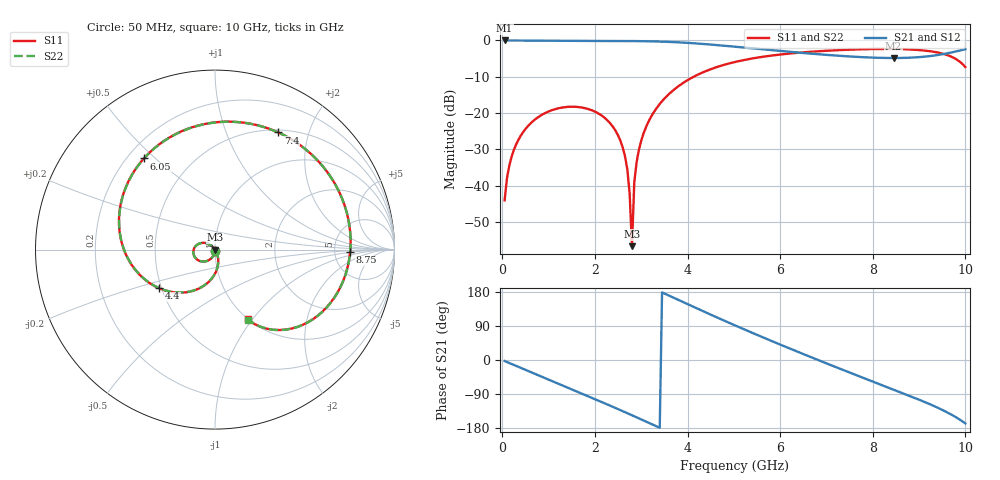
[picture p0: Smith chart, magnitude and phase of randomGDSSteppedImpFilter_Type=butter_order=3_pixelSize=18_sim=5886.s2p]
! freq	dB(S11)	phase(S11)	dB(S12)	phase(S12)
!  dB(S21)	phase(S21)	dB(S22)	phase(S22)
!S-par simulation data
#  GHz  S  DB  R 50
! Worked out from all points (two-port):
!   200 points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, 50 MHz to 10 GHz, reference 50 ohm
!   highest |S21| = -0.01 dB at 50 MHz (marker M1); lowest = -4.8 dB at 8.45 GHz (marker M2)
!   |S21| within 3 dB of the highest: start of sweep to 6.085 GHz; 9.806 GHz to end of sweep
!   lowest |S11| = -56.7 dB at 2.8 GHz (marker M3), VSWR 1.00, Z = 50.1 - j0.123 ohm
!   |S11| at or under -10 dB: start of sweep to 4.134 GHz
!   |S22| runs from -56.6 to -2.3 dB; largest |S21 - S12| = 0
!   S11 on the Smith chart (normalised r, x): 50 MHz: 1.00, -0.01; 4.4 GHz: 0.48, -0.24; 6.05 GHz: 0.26, +0.46; 7.4 GHz: 0.53, +1.54; 8.75 GHz: 7.05, -0.50; 10 GHz: 0.99, -0.95
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0.05  -44.08 -92.1  -0.01 -2.7  -0.01 -2.7  -44.08 -92.1
0.2  -32.09 -100.6  -0.03 -10.5  -0.03 -10.5  -32.09 -100.6
0.5  -24.42 -116.4  -0.05 -26.0  -0.05 -26.0  -24.42 -116.5
1.15  -18.91 -150.2  -0.12 -59.4  -0.12 -59.4  -18.91 -150.2
1.75  -18.57 178.8  -0.16 -90.2  -0.16 -90.2  -18.57 178.8
2.55  -27.63 136.8  -0.16 -132.3  -0.16 -132.3  -27.63 136.9
2.7  -35.53 128.8  -0.17 -140.3  -0.17 -140.3  -35.53 129.2
2.75  -42.16 126.1  -0.17 -143.1  -0.17 -143.1  -42.16 127.3
2.8  -56.70 -57.1  -0.18 -145.8  -0.18 -145.8  -56.64 -64.4
2.85  -39.15 -59.5  -0.18 -148.5  -0.18 -148.5  -39.15 -60.5
2.95  -30.15 -64.9  -0.19 -154.0  -0.19 -154.0  -30.16 -65.4
3.4  -17.51 -89.7  -0.31 -178.9  -0.31 -178.9  -17.51 -90.0
4.4  -8.43 -145.4  -1.03 125.2  -1.03 125.2  -8.43 -145.6
5.05  -5.87 179.6  -1.76 90.0  -1.76 90.0  -5.87 179.3
6.05  -3.82 128.0  -2.97 38.2  -2.97 38.2  -3.82 127.7
6.7  -3.09 95.6  -3.68 5.8  -3.68 5.8  -3.09 95.3
7.4  -2.59 61.7  -4.34 -28.3  -4.34 -28.3  -2.59 61.3
8.35  -2.35 17.2  -4.84 -73.4  -4.84 -73.4  -2.35 16.9
8.45  -2.37 12.6  -4.85 -78.1  -4.85 -78.1  -2.36 12.4
8.75  -2.47 -1.2  -4.78 -92.4  -4.78 -92.4  -2.46 -1.4
9.55  -3.80 -40.2  -3.70 -134.6  -3.70 -134.6  -3.79 -40.3
10  -7.34 -65.0  -2.43 -167.4  -2.43 -167.4  -7.31 -64.7
